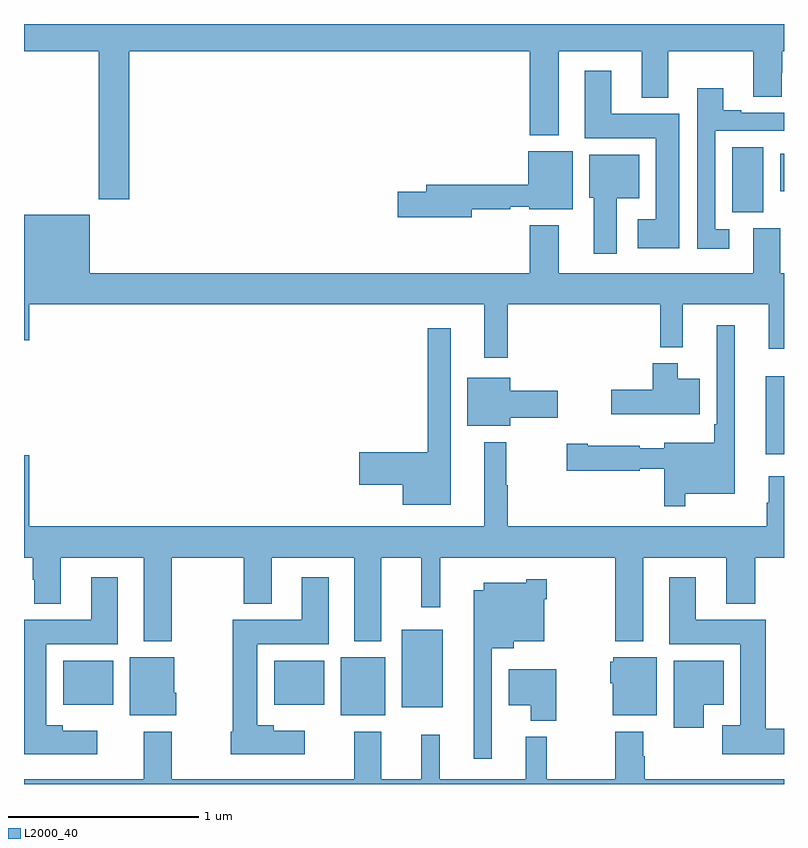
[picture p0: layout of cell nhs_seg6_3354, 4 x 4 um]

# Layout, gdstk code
import gdstk
lib = gdstk.Library(unit=1e-6, precision=1e-09)
def R(c, l, rs):  # rectangles x0, y0, x1, y1
    for r in rs: c.add(gdstk.rectangle(r[:2], r[2:], *l))
def P(c, l, *ps):  # polygons
    for p in ps: c.add(gdstk.Polygon(p, *l))
L2000_40 = (2000, 40)

nhs_seg6_3354 = lib.new_cell('nhs_seg6_3354')
R(nhs_seg6_3354, L2000_40, [(310.667,923.861,310.9,924.166), (310.988,923.903,311.203,924.313), (309.206,923.918,309.469,924.148), (310.316,923.918,310.579,924.148), (312.905,925.235,313,925.645), (312.728,926.509,312.892,926.852), (312.98,926.621,313,926.818)])
P(nhs_seg6_3354, L2000_40, [(309.554,927.356),(311.663,927.356),(311.663,926.915),(311.815,926.915),(311.815,927.356),(312.251,927.356),(312.251,927.113),(312.391,927.113),(312.391,927.356),(312.839,927.356),(312.839,927.118),(312.987,927.118),(312.987,927.243),(312.992,927.243),(312.992,927.356),(313,927.356),(313,927.5),(309,927.5),(309,927.356),(309.394,927.356),(309.394,926.577),(309.554,926.577)],
  [(312.448,927.028),(312.091,927.028),(312.091,927.253),(311.951,927.253),(311.951,926.9),(312.326,926.9),(312.326,926.473),(312.231,926.473),(312.231,926.321),(312.448,926.321)],
  [(312.712,926.421),(312.639,926.421),(312.639,926.937),(313,926.937),(313,927.033),(312.775,927.033),(312.775,927.046),(312.679,927.046),(312.679,927.163),(312.543,927.163),(312.543,926.316),(312.712,926.316)],
  [(311.356,926.526),(311.558,926.526),(311.558,926.538),(311.658,926.538),(311.658,926.525),(311.887,926.525),(311.887,926.83),(311.654,926.83),(311.654,926.654),(311.117,926.654),(311.117,926.618),(310.968,926.618),(310.968,926.483),(311.356,926.483)],
  [(312.121,926.582),(312.238,926.582),(312.238,926.812),(311.975,926.812),(311.975,926.586),(311.999,926.586),(311.999,926.292),(312.121,926.292)],
  [(311.545,926.024),(312.349,926.024),(312.349,925.799),(312.467,925.799),(312.467,926.024),(312.92,926.024),(312.92,925.791),(313,925.791),(313,926.188),(312.979,926.188),(312.979,926.424),(312.839,926.424),(312.839,926.188),(311.815,926.188),(311.815,926.44),(311.663,926.44),(311.663,926.188),(309.346,926.188),(309.346,926.497),(309,926.497),(309,925.836),(309.028,925.836),(309.028,926.024),(311.423,926.024),(311.423,925.743),(311.545,925.743)],
  [(312.481,925.028),(312.742,925.028),(312.742,925.915),(312.645,925.915),(312.645,925.393),(312.633,925.393),(312.633,925.297),(312.371,925.297),(312.371,925.267),(312.24,925.267),(312.24,925.279),(311.968,925.279),(311.968,925.292),(311.856,925.292),(311.856,925.15),(312.24,925.15),(312.24,925.158),(312.371,925.158),(312.371,924.963),(312.481,924.963)],
  [(311.245,925.9),(311.124,925.9),(311.124,925.247),(310.764,925.247),(310.764,925.076),(310.994,925.076),(310.994,924.971),(311.245,924.971)],
  [(312.556,925.633),(312.442,925.633),(312.442,925.714),(312.308,925.714),(312.308,925.575),(312.09,925.575),(312.09,925.445),(312.556,925.445)],
  [(311.56,925.427),(311.809,925.427),(311.809,925.569),(311.56,925.569),(311.56,925.639),(311.333,925.639),(311.333,925.385),(311.56,925.385)],
  [(309.028,925.231),(309,925.231),(309,924.692),(309.046,924.692),(309.046,924.576),(309.053,924.576),(309.053,924.449),(309.193,924.449),(309.193,924.692),(309.629,924.692),(309.629,924.251),(309.777,924.251),(309.777,924.692),(310.156,924.692),(310.156,924.449),(310.303,924.449),(310.303,924.692),(310.739,924.692),(310.739,924.251),(310.879,924.251),(310.879,924.692),(311.09,924.692),(311.09,924.429),(311.19,924.429),(311.19,924.692),(312.112,924.692),(312.112,924.251),(312.259,924.251),(312.259,924.692),(312.695,924.692),(312.695,924.449),(312.848,924.449),(312.848,924.692),(313,924.692),(313,925.12),(312.92,925.12),(312.92,924.98),(312.909,924.98),(312.909,924.856),(311.545,924.856),(311.545,925.073),(311.537,925.073),(311.537,925.3),(311.423,925.3),(311.423,924.856),(309.028,924.856)],
  [(313,923.792),(312.905,923.792),(312.905,924.364),(312.535,924.364),(312.535,924.589),(312.395,924.589),(312.395,924.236),(312.77,924.236),(312.77,923.809),(312.675,923.809),(312.675,923.657),(313,923.657)],
  [(309.385,923.779),(309.205,923.779),(309.205,923.809),(309.118,923.809),(309.118,924.236),(309.493,924.236),(309.493,924.589),(309.353,924.589),(309.353,924.364),(309,924.364),(309,923.657),(309.385,923.657)],
  [(310.477,923.779),(310.315,923.779),(310.315,923.809),(310.228,923.809),(310.228,924.236),(310.603,924.236),(310.603,924.589),(310.463,924.589),(310.463,924.364),(310.099,924.364),(310.099,923.775),(310.088,923.775),(310.088,923.657),(310.477,923.657)],
  [(311.463,924.215),(311.578,924.215),(311.578,924.251),(311.737,924.251),(311.737,924.473),(311.751,924.473),(311.751,924.577),(311.643,924.577),(311.643,924.559),(311.42,924.559),(311.42,924.52),(311.366,924.52),(311.366,923.634),(311.463,923.634)],
  [(312.331,924.166),(312.102,924.166),(312.102,924.144),(312.086,924.144),(312.086,924.03),(312.098,924.03),(312.098,923.861),(312.331,923.861)],
  [(309.802,923.979),(309.79,923.979),(309.79,924.166),(309.557,924.166),(309.557,923.861),(309.802,923.861)],
  [(312.577,923.918),(312.682,923.918),(312.682,924.148),(312.419,924.148),(312.419,923.796),(312.577,923.796)],
  [(311.8,924.103),(311.552,924.103),(311.552,923.915),(311.666,923.915),(311.666,923.834),(311.8,923.834)],
  [(313,923.524),(312.267,923.524),(312.267,923.645),(312.259,923.645),(312.259,923.776),(312.112,923.776),(312.112,923.524),(311.752,923.524),(311.752,923.749),(311.642,923.749),(311.642,923.524),(311.189,923.524),(311.189,923.758),(311.09,923.758),(311.09,923.524),(310.879,923.524),(310.879,923.776),(310.739,923.776),(310.739,923.524),(309.777,923.524),(309.777,923.776),(309.629,923.776),(309.629,923.524),(309,923.524),(309,923.5),(313,923.5)])

lib.write_gds('nhs_seg6_3354.gds')
